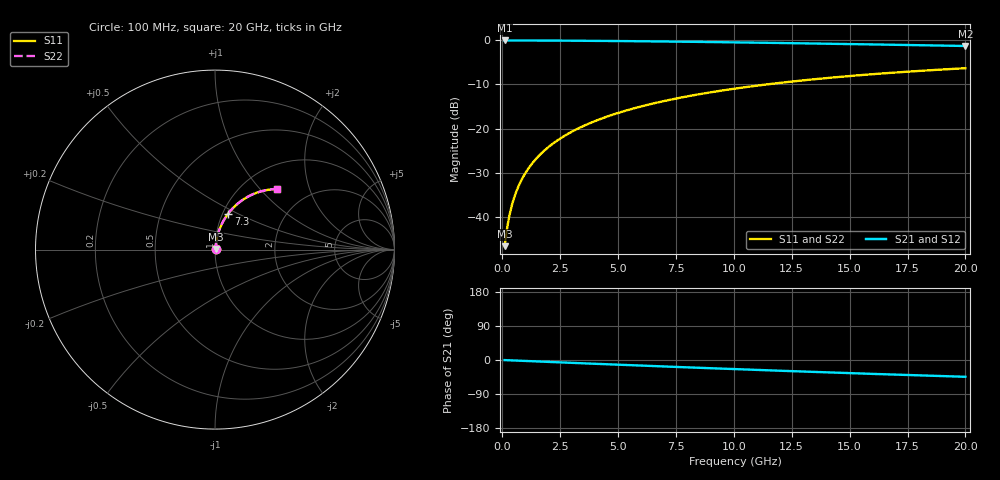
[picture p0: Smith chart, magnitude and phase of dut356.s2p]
! Touchstone file exported from HFSS 2026.1.0
!  File:  C:/ffzhzh/LocalFiles/Ansys_Project_Files/temp_train_TMRDL_356_1783004091_46388.aedt
!  Generated:  10:56:12 PM Jul  2, 2026
!  Design:  TMRDL
!  Project:  temp_train_TMRDL_356_1783004091_46388
! Variables:
!  h_bsmrdl = 2um
!  h_ox = 20um
!  h_rdl = 5um
!  h_sub = 80um
!  h_tmrdl = 5.38um
!  h_tsv = 80um
!  h_via = 3um
!  l_bsmrdl = 300um
!  l_sub = 1004.09um
!  l_tmrdl = 604.09um
!  m_sub = 200um
!  pitch = 48.15um
!  r_tsv = 6um
!  s_tmrdl = 10um
!  w_bsmrdl = 18um
!  w_sub = 500um
!  w_tmrdl = 11.91um
!  x_tsv_center1 = 610.045um
!  x_tsv_center2 = 928.045um
!  x_tsv_center3 = 1544.045um
!  x_tsv_center4 = 1862.045um
!  x_tsv_center5 = 2478.045um
!  x_tsv_center6 = 2796.045um
# GHz S MA R 50.000000
! Terminal data exported
! Port[1] = TM_RDL1_1_T1
! Port[2] = TM_RDL1_1_T2
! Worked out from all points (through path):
!   200 points, 100 MHz to 20 GHz, reference 50 ohm
!   highest |S21| = -0.03 dB at 100 MHz (marker M1); lowest = -1.3 dB at 20 GHz (marker M2)
!   group delay of S21, straight-line fit = 6.16 ps
!   lowest |S11| = -46.6 dB at 100 MHz (marker M3), VSWR 1.01, Z = 50.3 + j0.322 ohm
!   |S11| at or under -10 dB: start of sweep to 11.4 GHz
!   |S22| runs from -46.6 to -6.3 dB; largest |S21 - S12| = 3.2e-15
!   S11 on the Smith chart (normalised r, x): 100 MHz: 1.01, +0.01; 7.3 GHz: 1.06, +0.45; 20 GHz: 1.42, +1.25
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0.1  0.004661 43.3  0.9966 -0.3  0.9966 -0.3  0.004661 43.3
! Gamma 0 0 0 0
! Port Impedance 50 0 50 0
0.2  0.007262 61.2  0.9965 -0.5  0.9965 -0.5  0.007262 61.2
0.3  0.01017 68.9  0.9964 -0.8  0.9964 -0.8  0.01017 68.9
0.4  0.01315 73.1  0.9963 -1.0  0.9963 -1.0  0.01315 73.1
0.5  0.01617 75.6  0.9962 -1.3  0.9962 -1.3  0.01617 75.6
0.6  0.01921 77.3  0.9961 -1.5  0.9961 -1.5  0.01921 77.3
0.8  0.02531 79.3  0.9959 -2.0  0.9959 -2.0  0.02531 79.3
1.1  0.0345 80.6  0.9954 -2.8  0.9954 -2.8  0.0345 80.6
1.5  0.04676 81.1  0.9947 -3.8  0.9947 -3.8  0.04676 81.1
1.8  0.05593 81.0  0.9941 -4.5  0.9941 -4.5  0.05593 81.0
2.1  0.06505 80.6  0.9933 -5.3  0.9933 -5.3  0.06505 80.7
2.7  0.08317 79.7  0.9915 -6.8  0.9915 -6.8  0.08317 79.7
3.5  0.107 78.2  0.9885 -8.8  0.9885 -8.8  0.107 78.2
4.2  0.1274 76.7  0.9855 -10.5  0.9855 -10.5  0.1274 76.7
5  0.1504 74.9  0.9816 -12.4  0.9816 -12.4  0.1504 74.9
6.8  0.2003 70.9  0.9713 -16.7  0.9713 -16.7  0.2003 70.9
7.3  0.2137 69.8  0.9681 -17.8  0.9681 -17.8  0.2137 69.8
8.6  0.2477 67.0  0.9593 -20.8  0.9593 -20.8  0.2477 67.0
10.1  0.2852 63.7  0.9482 -24.2  0.9482 -24.2  0.2852 63.7
13.4  0.3609 56.9  0.9212 -31.3  0.9212 -31.3  0.3609 56.9
16.7  0.4269 50.3  0.8922 -38.0  0.8922 -38.0  0.4269 50.3
20  0.4833 44.2  0.863 -44.3  0.863 -44.3  0.4833 44.2
